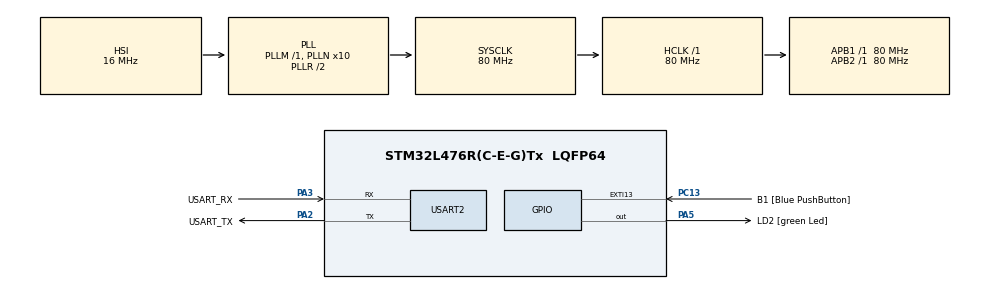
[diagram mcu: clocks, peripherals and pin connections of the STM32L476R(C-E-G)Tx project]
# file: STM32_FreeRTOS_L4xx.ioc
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FREERTOS.Tasks01=defaultTask,0,128,StartDefaultTask,Default,NULL,Dynamic,NULL,NULL
FREERTOS.configCHECK_FOR_STACK_OVERFLOW=1
FREERTOS.configUSE_IDLE_HOOK=0
FREERTOS.configUSE_MALLOC_FAILED_HOOK=1
FREERTOS.configUSE_TICK_HOOK=0
Mcu.Family=STM32L4
Mcu.Name=STM32L476R(C-E-G)Tx
Mcu.Package=LQFP64
NVIC.PriorityGroup=NVIC_PRIORITYGROUP_4
PA13\ (JTMS-SWDIO).GPIO_Label=TMS
PA13\ (JTMS-SWDIO).Mode=Serial_Wire
PA13\ (JTMS-SWDIO).Signal=SYS_JTMS-SWDIO
PA14\ (JTCK-SWCLK).GPIO_Label=TCK
PA14\ (JTCK-SWCLK).Mode=Serial_Wire
PA14\ (JTCK-SWCLK).Signal=SYS_JTCK-SWCLK
PA2.GPIO_Label=USART_TX
PA2.GPIO_Mode=GPIO_MODE_AF_PP
PA2.GPIO_PuPd=GPIO_NOPULL
PA2.GPIO_Speed=GPIO_SPEED_FREQ_VERY_HIGH
PA2.Mode=Asynchronous
PA2.Signal=USART2_TX
PA3.GPIO_Label=USART_RX
PA3.GPIO_Mode=GPIO_MODE_AF_PP
PA3.GPIO_PuPd=GPIO_NOPULL
PA3.GPIO_Speed=GPIO_SPEED_FREQ_VERY_HIGH
PA3.Mode=Asynchronous
PA3.Signal=USART2_RX
PA5.GPIO_Label=LD2 [green Led]
PA5.GPIO_ModeDefaultOutputPP=GPIO_MODE_OUTPUT_PP
PA5.GPIO_PuPd=GPIO_NOPULL
PA5.GPIO_Speed=GPIO_SPEED_FREQ_LOW
PA5.Signal=GPIO_Output
PB3\ (JTDO-TRACESWO).GPIO_Label=SWO
PB3\ (JTDO-TRACESWO).Signal=SYS_JTDO-SWO
PC13.GPIO_Label=B1 [Blue PushButton]
PC13.GPIO_ModeDefaultEXTI=GPIO_MODE_IT_FALLING
PC13.GPIO_PuPd=GPIO_NOPULL
PC13.Signal=GPXTI13
PC14-OSC32_IN\ (PC14).Signal=RCC_OSC32_IN
PC15-OSC32_OUT\ (PC15).Signal=RCC_OSC32_OUT
PH0-OSC_IN\ (PH0).Mode=HSE-External-Oscillator
PH0-OSC_IN\ (PH0).Signal=RCC_OSC_IN
PH1-OSC_OUT\ (PH1).Mode=HSE-External-Oscillator
PH1-OSC_OUT\ (PH1).Signal=RCC_OSC_OUT
ProjectManager.HeapSize=0x200
ProjectManager.StackSize=0x400
ProjectManager.TargetToolchain=STM32CubeIDE
RCC.ADCFreq_Value=64000000
RCC.AHBFreq_Value=80000000
RCC.APB1Freq_Value=80000000
RCC.APB1TimFreq_Value=80000000
RCC.APB2Freq_Value=80000000
RCC.APB2TimFreq_Value=80000000
RCC.CortexFreq_Value=80000000
RCC.HCLKFreq_Value=80000000
RCC.HSE_VALUE=8000000
RCC.HSI_VALUE=16000000
RCC.LSE_VALUE=32768
RCC.MSI_VALUE=4000000
RCC.PLLN=10
RCC.PLLSourceVirtual=RCC_PLLSOURCE_HSI
RCC.PREFETCH_ENABLE=1
RCC.SYSCLKFreq_VALUE=80000000
RCC.SYSCLKSource=RCC_SYSCLKSOURCE_PLLCLK
RCC.USBFreq_Value=64000000
RCC.VCOOutputFreq_Value=160000000
USART2.VirtualMode-Asynchronous=VM_ASYNC
VP_FREERTOS_VS_CMSIS_V1.Mode=CMSIS_V1
board=NUCLEO-L476RG

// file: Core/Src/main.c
/* USER CODE BEGIN Header */
/**
  ******************************************************************************
  * @file           : main.c
  * @brief          : Main program body
  ******************************************************************************
  * @attention
  *
  * Copyright (c) 2025 STMicroelectronics.
  * All rights reserved.
  *
  * This software is licensed under terms that can be found in the LICENSE file
  * in the root directory of this software component.
  * If no LICENSE file comes with this software, it is provided AS-IS.
  *
  ******************************************************************************
  */
/* USER CODE END Header */
#include "main.h"
#include "cmsis_os.h"

/* USER CODE BEGIN Includes */
#include<stdio.h>
#include<string.h>
/* USER CODE END Includes */

UART_HandleTypeDef huart2;

osThreadId defaultTaskHandle;

void SystemClock_Config(void);
static void MX_GPIO_Init(void);
static void MX_USART2_UART_Init(void);
void StartDefaultTask(void const * argument);

/* USER CODE BEGIN 0 */
int __io_putchar(int ch)
{
	HAL_UART_Transmit(&huart2, (uint8_t*)&ch, 1, HAL_MAX_DELAY);
	return ch;
}
// Called if a task stack overflows
void vApplicationMallocFailedHook(TaskHandle_t xTask, char *pcTaskName)
{
	TaskHandle_t task = xTaskGetCurrentTaskHandle(); // Get current task handle
	// Print which task caused malloc failure
	printf("Malloc failed in task: %s\r\n", pcTaskGetName(task));

	// Stay here and blink LED to signal error
	while(1)
	{
		HAL_GPIO_TogglePin(GPIOA, GPIO_PIN_5);  // Toggle LED
		HAL_Delay(100);
	}
}

void Task1StkHandler(void *argument)
{
	void *ptr;

    while(1U)  // infinite loop
    {
    	 ptr = pvPortMalloc(1000);  // Allocate 1000 bytes
    	        HAL_Delay(10);
    }
}
/* USER CODE END 0 */

int main(void)
{

  /* MCU Configuration--------------------------------------------------------*/

  /* Reset of all peripherals, Initializes the Flash interface and the Systick. */
  HAL_Init();

  /* Configure the system clock */
  SystemClock_Config();

  /* Initialize all configured peripherals */
  MX_GPIO_Init();
  MX_USART2_UART_Init();

  /* Create the thread(s) */
  /* definition and creation of defaultTask */
  osThreadDef(defaultTask, StartDefaultTask, osPriorityNormal, 0, 128);
  defaultTaskHandle = osThreadCreate(osThread(defaultTask), NULL);

  /* USER CODE BEGIN RTOS_THREADS */
  xTaskCreate(Task1StkHandler, "STACK", 128, NULL, 1, NULL); // creation of task and checking

  /* USER CODE END RTOS_THREADS */

  /* Start scheduler */
  osKernelStart();

  /* We should never get here as control is now taken by the scheduler */

  /* Infinite loop */
  while (1)
  {

  }
}

void SystemClock_Config(void)
{
  RCC_OscInitTypeDef RCC_OscInitStruct = {0};
  RCC_ClkInitTypeDef RCC_ClkInitStruct = {0};

  /** Configure the main internal regulator output voltage
  */
  if (HAL_PWREx_ControlVoltageScaling(PWR_REGULATOR_VOLTAGE_SCALE1) != HAL_OK)
  {
    Error_Handler();
  }

  /** Initializes the RCC Oscillators according to the specified parameters
  * in the RCC_OscInitTypeDef structure.
  */
  RCC_OscInitStruct.OscillatorType = RCC_OSCILLATORTYPE_HSI;
  RCC_OscInitStruct.HSIState = RCC_HSI_ON;
  RCC_OscInitStruct.HSICalibrationValue = RCC_HSICALIBRATION_DEFAULT;
  RCC_OscInitStruct.PLL.PLLState = RCC_PLL_ON;
  RCC_OscInitStruct.PLL.PLLSource = RCC_PLLSOURCE_HSI;
  RCC_OscInitStruct.PLL.PLLM = 1;
  RCC_OscInitStruct.PLL.PLLN = 10;
  RCC_OscInitStruct.PLL.PLLP = RCC_PLLP_DIV7;
  RCC_OscInitStruct.PLL.PLLQ = RCC_PLLQ_DIV2;
  RCC_OscInitStruct.PLL.PLLR = RCC_PLLR_DIV2;
  if (HAL_RCC_OscConfig(&RCC_OscInitStruct) != HAL_OK)
  {
    Error_Handler();
  }

  /** Initializes the CPU, AHB and APB buses clocks
  */
  RCC_ClkInitStruct.ClockType = RCC_CLOCKTYPE_HCLK|RCC_CLOCKTYPE_SYSCLK
                              |RCC_CLOCKTYPE_PCLK1|RCC_CLOCKTYPE_PCLK2;
  RCC_ClkInitStruct.SYSCLKSource = RCC_SYSCLKSOURCE_PLLCLK;
  RCC_ClkInitStruct.AHBCLKDivider = RCC_SYSCLK_DIV1;
  RCC_ClkInitStruct.APB1CLKDivider = RCC_HCLK_DIV1;
  RCC_ClkInitStruct.APB2CLKDivider = RCC_HCLK_DIV1;

  if (HAL_RCC_ClockConfig(&RCC_ClkInitStruct, FLASH_LATENCY_4) != HAL_OK)
  {
    Error_Handler();
  }
}

static void MX_USART2_UART_Init(void)
{

  huart2.Instance = USART2;
  huart2.Init.BaudRate = 115200;
  huart2.Init.WordLength = UART_WORDLENGTH_8B;
  huart2.Init.StopBits = UART_STOPBITS_1;
  huart2.Init.Parity = UART_PARITY_NONE;
  huart2.Init.Mode = UART_MODE_TX_RX;
  huart2.Init.HwFlowCtl = UART_HWCONTROL_NONE;
  huart2.Init.OverSampling = UART_OVERSAMPLING_16;
  huart2.Init.OneBitSampling = UART_ONE_BIT_SAMPLE_DISABLE;
  huart2.AdvancedInit.AdvFeatureInit = UART_ADVFEATURE_NO_INIT;
  if (HAL_UART_Init(&huart2) != HAL_OK)
  {
    Error_Handler();
  }

}

static void MX_GPIO_Init(void)
{
  GPIO_InitTypeDef GPIO_InitStruct = {0};

  /* GPIO Ports Clock Enable */
  __HAL_RCC_GPIOC_CLK_ENABLE();
  __HAL_RCC_GPIOH_CLK_ENABLE();
  __HAL_RCC_GPIOA_CLK_ENABLE();
  __HAL_RCC_GPIOB_CLK_ENABLE();

  /*Configure GPIO pin Output Level */
  HAL_GPIO_WritePin(LD2_GPIO_Port, LD2_Pin, GPIO_PIN_RESET);

  /*Configure GPIO pin : B1_Pin */
  GPIO_InitStruct.Pin = B1_Pin;
  GPIO_InitStruct.Mode = GPIO_MODE_IT_FALLING;
  GPIO_InitStruct.Pull = GPIO_NOPULL;
  HAL_GPIO_Init(B1_GPIO_Port, &GPIO_InitStruct);

  /*Configure GPIO pin : LD2_Pin */
  GPIO_InitStruct.Pin = LD2_Pin;
  GPIO_InitStruct.Mode = GPIO_MODE_OUTPUT_PP;
  GPIO_InitStruct.Pull = GPIO_NOPULL;
  GPIO_InitStruct.Speed = GPIO_SPEED_FREQ_LOW;
  HAL_GPIO_Init(LD2_GPIO_Port, &GPIO_InitStruct);

}

void StartDefaultTask(void const * argument)
{
  for(;;)
  {
    osDelay(1);
  }
}

void Error_Handler(void)
{
  __disable_irq();
  while (1)
  {
  }
}
